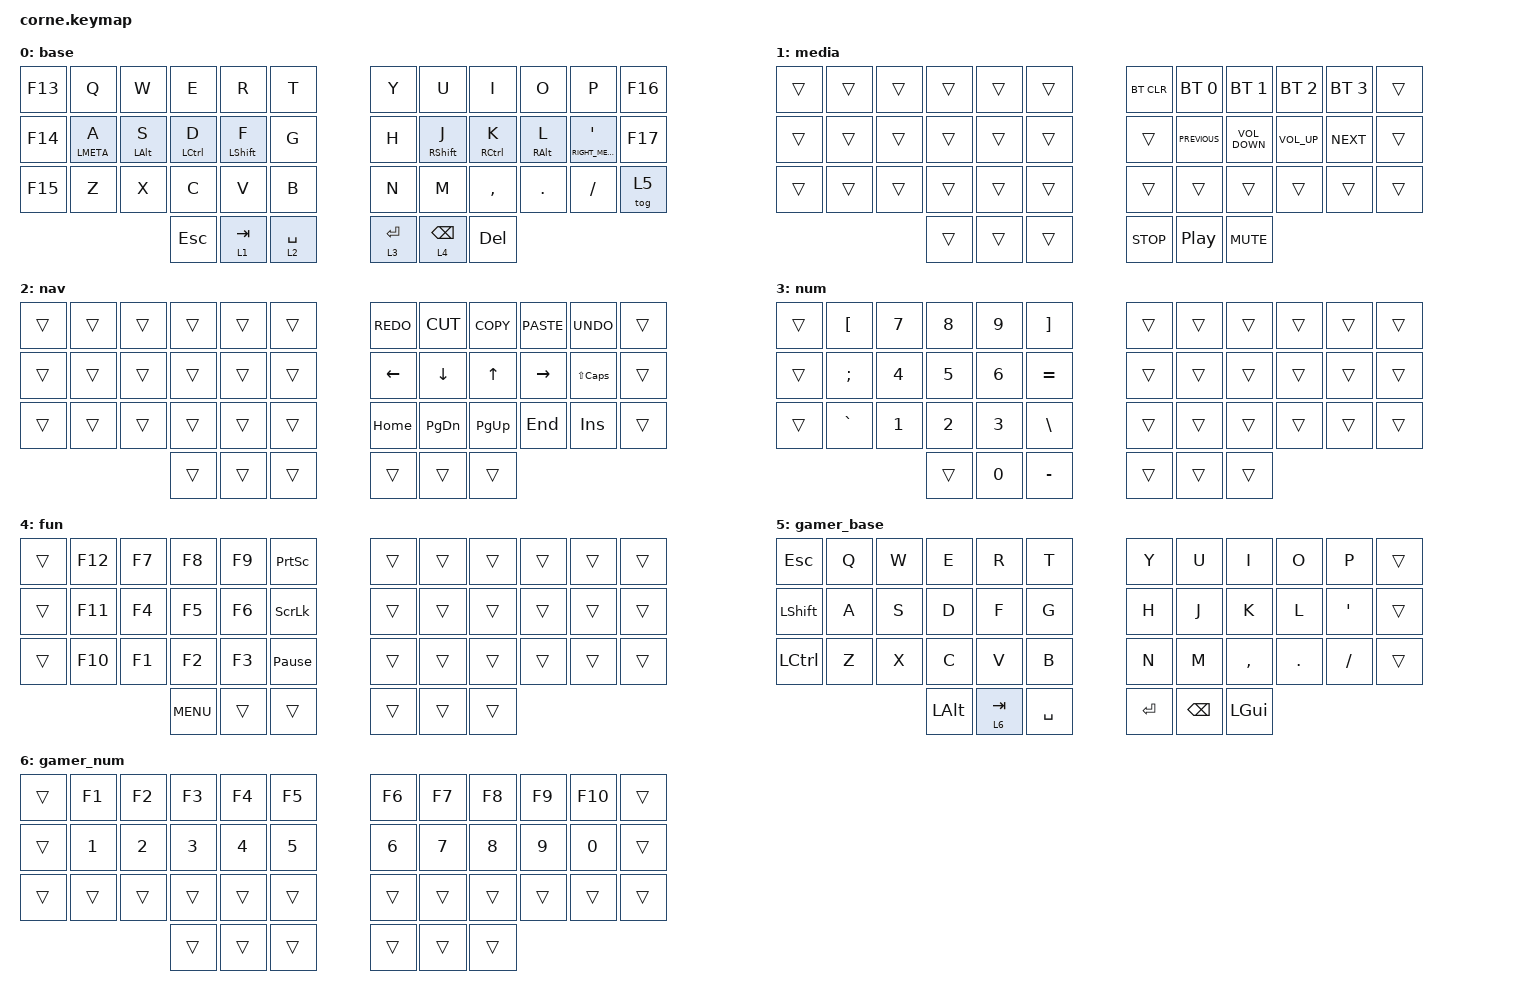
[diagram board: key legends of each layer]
/*
 * Copyright (c) 2020 The ZMK Contributors
 *
 * SPDX-License-Identifier: MIT
 */

#include <behaviors.dtsi>
#include <dt-bindings/zmk/bt.h>
#include <dt-bindings/zmk/keys.h>

/ {
    combos {
        compatible = "zmk,combos";

        ESC_DF {
            bindings = <&kp ESC>;
            key-positions = <15 16>;
        };

        ESC_JK {
            bindings = <&kp ESC>;
            key-positions = <19 20>;
        };
    };

    keymap {
        compatible = "zmk,keymap";

        base {
            bindings = <
&kp F13  &kp Q        &kp W           &kp E        &kp R             &kp T          &kp Y        &kp U              &kp I        &kp O            &kp P                        &kp F16
&kp F14  &mt LMETA A  &mt LEFT_ALT S  &mt LCTRL D  &mt LEFT_SHIFT F  &kp G          &kp H        &mt RIGHT_SHIFT J  &mt RCTRL K  &mt RIGHT_ALT L  &mt RIGHT_META SINGLE_QUOTE  &kp F17
&kp F15  &kp Z        &kp X           &kp C        &kp V             &kp B          &kp N        &kp M              &kp COMMA    &kp DOT          &kp FSLH                     &tog 5
                                      &kp ESC      &lt 1 TAB         &lt 2 SPACE    &lt 3 ENTER  &lt 4 BACKSPACE    &kp DELETE
            >;
        };

        media {
            bindings = <
&trans  &trans  &trans  &trans  &trans  &trans    &bt BT_CLR  &bt BT_SEL 0      &bt BT_SEL 1       &bt BT_SEL 2     &bt BT_SEL 3  &trans
&trans  &trans  &trans  &trans  &trans  &trans    &trans      &kp C_PREVIOUS    &kp C_VOLUME_DOWN  &kp C_VOLUME_UP  &kp C_NEXT    &trans
&trans  &trans  &trans  &trans  &trans  &trans    &trans      &trans            &trans             &trans           &trans        &trans
                        &trans  &trans  &trans    &kp C_STOP  &kp C_PLAY_PAUSE  &kp C_MUTE
            >;
        };

        nav {
            bindings = <
&trans  &trans  &trans  &trans  &trans  &trans    &kp K_REDO  &kp K_CUT      &kp K_COPY   &kp K_PASTE  &kp K_UNDO    &trans
&trans  &trans  &trans  &trans  &trans  &trans    &kp LEFT    &kp DOWN       &kp UP       &kp RIGHT    &kp LS(CAPS)  &trans
&trans  &trans  &trans  &trans  &trans  &trans    &kp HOME    &kp PAGE_DOWN  &kp PAGE_UP  &kp END      &kp INSERT    &trans
                        &trans  &trans  &trans    &trans      &trans         &trans
            >;
        };

        num {
            bindings = <
&trans  &kp LEFT_BRACKET  &kp N7  &kp N8  &kp N9  &kp RIGHT_BRACKET    &trans  &trans  &trans  &trans  &trans  &trans
&trans  &kp SEMICOLON     &kp N4  &kp N5  &kp N6  &kp EQUAL            &trans  &trans  &trans  &trans  &trans  &trans
&trans  &kp GRAVE         &kp N1  &kp N2  &kp N3  &kp BACKSLASH        &trans  &trans  &trans  &trans  &trans  &trans
                                  &trans  &kp N0  &kp MINUS            &trans  &trans  &trans
            >;
        };

        fun {
            bindings = <
&trans  &kp F12  &kp F7  &kp F8      &kp F9  &kp PRINTSCREEN    &trans  &trans  &trans  &trans  &trans  &trans
&trans  &kp F11  &kp F4  &kp F5      &kp F6  &kp SCROLLLOCK     &trans  &trans  &trans  &trans  &trans  &trans
&trans  &kp F10  &kp F1  &kp F2      &kp F3  &kp PAUSE_BREAK    &trans  &trans  &trans  &trans  &trans  &trans
                         &kp C_MENU  &trans  &trans             &trans  &trans  &trans
            >;
        };

        gamer_base {
            bindings = <
&kp ESC    &kp Q  &kp W  &kp E     &kp R      &kp T        &kp Y    &kp U     &kp I      &kp O    &kp P     &trans
&kp LSHFT  &kp A  &kp S  &kp D     &kp F      &kp G        &kp H    &kp J     &kp K      &kp L    &kp APOS  &trans
&kp LCTRL  &kp Z  &kp X  &kp C     &kp V      &kp B        &kp N    &kp M     &kp COMMA  &kp DOT  &kp FSLH  &trans
                         &kp LALT  &lt 6 TAB  &kp SPACE    &kp RET  &kp BSPC  &kp LGUI
            >;
        };

        gamer_num {
            bindings = <
&trans  &kp F1  &kp F2  &kp F3  &kp F4  &kp F5    &kp F6  &kp F7  &kp F8  &kp F9  &kp F10  &trans
&trans  &kp N1  &kp N2  &kp N3  &kp N4  &kp N5    &kp N6  &kp N7  &kp N8  &kp N9  &kp N0   &trans
&trans  &trans  &trans  &trans  &trans  &trans    &trans  &trans  &trans  &trans  &trans   &trans
                        &trans  &trans  &trans    &trans  &trans  &trans
            >;
        };
    };
};
